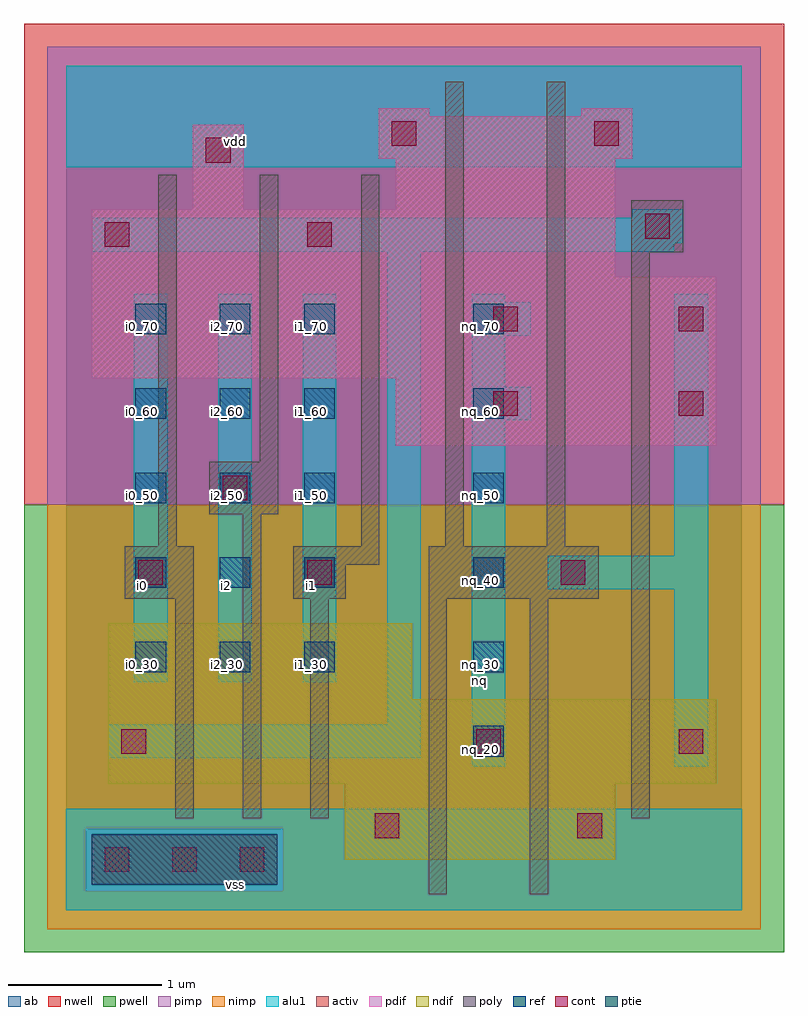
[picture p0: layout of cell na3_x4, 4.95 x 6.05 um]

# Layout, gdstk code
import gdstk
lib = gdstk.Library(unit=1e-6, precision=2.5e-09)
def R(c, l, rs):  # rectangles x0, y0, x1, y1
    for r in rs: c.add(gdstk.rectangle(r[:2], r[2:], *l))
def A(c, l, x, y, w, h, nx, ny, dx, dy):  # array of equal rectangles
    R(c, l, [(x+i*dx, y+j*dy, x+i*dx+w, y+j*dy+h) for i in range(nx) for j in range(ny)])
ndif = (3, 0)
pdif = (4, 0)
ptie = (6, 0)
ref = (24, 0)
cont = (25, 0)
pwell = (41, 0)
nwell = (42, 0)
activ = (43, 0)
pimp = (44, 0)
nimp = (45, 0)
poly = (46, 0)
alu1 = (49, 0)
ab = (63, 0)

na3_x4 = lib.new_cell('na3_x4')
R(na3_x4, ndif, [(1.815,0.33,3.575,0.825), (0.275,0.825,4.235,1.375), (0.275,1.375,2.255,1.87)])
R(na3_x4, pdif, [(2.145,3.025,4.235,3.465), (0.165,3.465,4.235,4.125), (0.165,4.125,3.575,4.565), (0.825,4.565,1.155,5.115), (2.145,4.565,3.575,4.895), (2.035,4.895,3.685,5.17), (2.035,5.17,2.365,5.225), (3.355,5.17,3.685,5.225)])
R(na3_x4, ptie, [(0.165,0.165,1.375,0.495)])
A(na3_x4, ref, 2.65, 1, 0.2, 0.2, 1, 6, 0, 0.55)
A(na3_x4, ref, 0.45, 1.55, 0.2, 0.2, 3, 5, 0.55, 0.55)
A(na3_x4, cont, 0.25, 0.25, 0.16, 0.16, 3, 1, 0.44, 0)
R(na3_x4, cont, [(2.01,0.47,2.17,0.63), (3.33,0.47,3.49,0.63), (0.36,1.02,0.52,1.18), (2.67,1.02,2.83,1.18), (3.99,1.02,4.15,1.18), (0.47,2.12,0.63,2.28), (1.57,2.12,1.73,2.28), (3.22,2.12,3.38,2.28), (1.02,2.67,1.18,2.83), (2.78,3.22,2.94,3.38), (3.99,3.22,4.15,3.38), (2.78,3.77,2.94,3.93), (3.99,3.77,4.15,3.93), (0.25,4.32,0.41,4.48), (1.57,4.32,1.73,4.48), (3.77,4.375,3.93,4.535), (0.91,4.87,1.07,5.03), (2.12,4.98,2.28,5.14), (3.44,4.98,3.6,5.14)])
R(na3_x4, pwell, [(-0.275,-0.275,4.675,2.64)])
R(na3_x4, nwell, [(-0.275,2.64,4.675,5.775)])
R(na3_x4, activ, [(0.165,0.165,1.375,0.495), (1.815,0.33,3.575,0.825), (0.275,0.825,4.235,1.375), (0.275,1.375,2.255,1.87), (2.145,3.025,4.235,3.465), (0.165,3.465,4.235,4.125), (0.165,4.125,3.575,4.565), (0.825,4.565,1.155,5.115), (2.145,4.565,3.575,4.895), (2.035,4.895,3.685,5.17), (2.035,5.17,2.365,5.225), (3.355,5.17,3.685,5.225)])
R(na3_x4, pimp, [(0.125,0.125,1.415,0.535), (-0.125,2.64,4.525,5.625)])
R(na3_x4, nimp, [(-0.125,-0.125,4.525,0.125), (-0.125,0.125,0.125,0.535), (1.415,0.125,4.525,0.535), (-0.125,0.535,4.525,2.64)])
R(na3_x4, poly, [(2.36,0.105,2.48,2.03), (3.02,0.105,3.14,2.03), (0.71,0.6,0.83,2.03), (1.15,0.6,1.27,2.58), (1.59,0.6,1.71,2.03), (3.68,0.6,3.8,4.285), (0.38,2.03,0.83,2.37), (1.48,2.03,1.82,2.25), (2.36,2.03,3.47,2.37), (1.48,2.25,2.04,2.37), (0.6,2.37,0.72,4.79), (1.92,2.37,2.04,4.79), (2.47,2.37,2.59,5.395), (3.13,2.37,3.25,5.395), (0.93,2.58,1.38,2.92), (1.26,2.92,1.38,4.79), (3.68,4.285,4.02,4.625)])
A(na3_x4, alu1, 0.44, 1.485, 0.22, 2.53, 3, 1, 0.55, 0)
R(na3_x4, alu1, [(0,0,4.4,0.66), (2.64,0.935,2.86,3.19), (3.96,0.935,4.18,2.09), (0.275,0.99,2.31,1.21), (2.09,1.21,2.31,4.29), (3.135,2.09,4.18,2.31), (3.96,2.31,4.18,4.015), (2.64,3.19,3.025,3.41), (2.64,3.41,2.86,3.74), (2.64,3.74,3.025,3.96), (2.64,3.96,2.86,4.015), (0.165,4.29,3.96,4.345), (0.165,4.345,4.015,4.51), (3.685,4.51,4.015,4.565), (0,4.84,4.4,5.5)])
R(na3_x4, ab, [(0,0,4.4,5.5)])
na3_x4.add(gdstk.Label('vss', (1.1,0.165), layer=49, texttype=0))
na3_x4.add(gdstk.Label('nq', (2.695,1.4975), layer=49, texttype=0))
na3_x4.add(gdstk.Label('i1', (1.595,2.1175), layer=49, texttype=0))
na3_x4.add(gdstk.Label('i2', (1.045,2.1175), layer=49, texttype=0))
na3_x4.add(gdstk.Label('i0', (0.495,2.1175), layer=49, texttype=0))
na3_x4.add(gdstk.Label('vdd', (1.1,5.005), layer=49, texttype=0))
na3_x4.add(gdstk.Label('i2_30', (1.05,1.6), layer=24, texttype=0))
na3_x4.add(gdstk.Label('i2_40', (1.05,2.15), layer=24, texttype=0))
na3_x4.add(gdstk.Label('i2_50', (1.05,2.7), layer=24, texttype=0))
na3_x4.add(gdstk.Label('i2_60', (1.05,3.25), layer=24, texttype=0))
na3_x4.add(gdstk.Label('i2_70', (1.05,3.8), layer=24, texttype=0))
na3_x4.add(gdstk.Label('nq_70', (2.7,3.8), layer=24, texttype=0))
na3_x4.add(gdstk.Label('nq_60', (2.7,3.25), layer=24, texttype=0))
na3_x4.add(gdstk.Label('nq_50', (2.7,2.7), layer=24, texttype=0))
na3_x4.add(gdstk.Label('nq_40', (2.7,2.15), layer=24, texttype=0))
na3_x4.add(gdstk.Label('nq_30', (2.7,1.6), layer=24, texttype=0))
na3_x4.add(gdstk.Label('nq_20', (2.7,1.05), layer=24, texttype=0))
na3_x4.add(gdstk.Label('i1_30', (1.6,1.6), layer=24, texttype=0))
na3_x4.add(gdstk.Label('i1_40', (1.6,2.15), layer=24, texttype=0))
na3_x4.add(gdstk.Label('i1_50', (1.6,2.7), layer=24, texttype=0))
na3_x4.add(gdstk.Label('i0_50', (0.5,2.7), layer=24, texttype=0))
na3_x4.add(gdstk.Label('i0_40', (0.5,2.15), layer=24, texttype=0))
na3_x4.add(gdstk.Label('i0_30', (0.5,1.6), layer=24, texttype=0))
na3_x4.add(gdstk.Label('i0_70', (0.5,3.8), layer=24, texttype=0))
na3_x4.add(gdstk.Label('i0_60', (0.5,3.25), layer=24, texttype=0))
na3_x4.add(gdstk.Label('i1_70', (1.6,3.8), layer=24, texttype=0))
na3_x4.add(gdstk.Label('i1_60', (1.6,3.25), layer=24, texttype=0))

lib.write_gds('na3_x4.gds')
